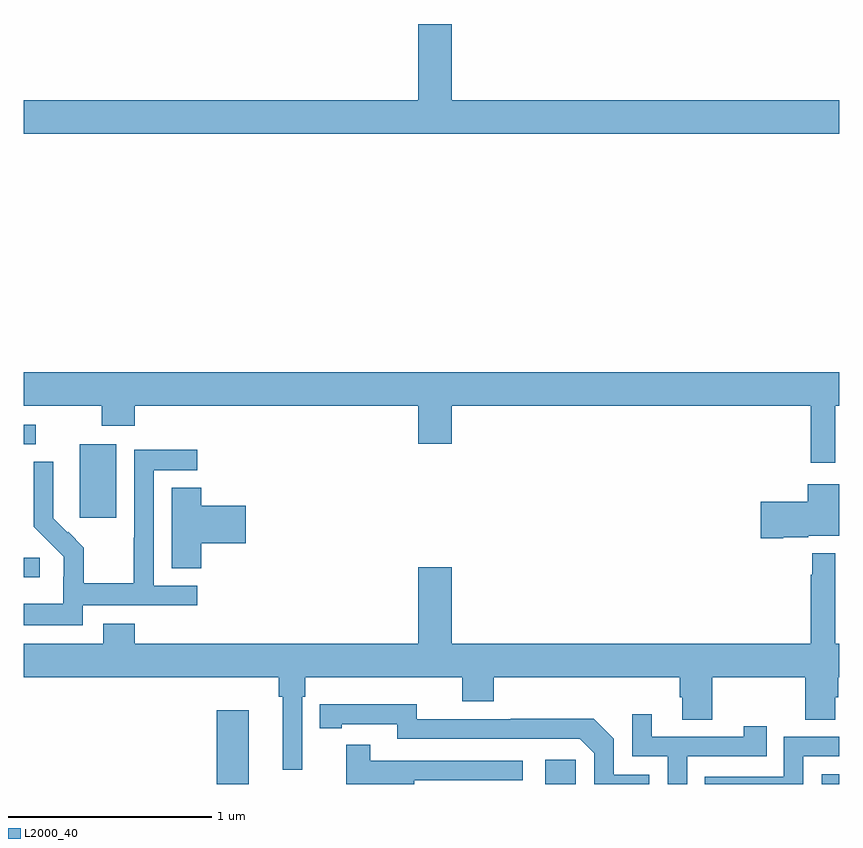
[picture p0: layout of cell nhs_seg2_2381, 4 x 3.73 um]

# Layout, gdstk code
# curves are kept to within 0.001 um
import gdstk
lib = gdstk.Library(unit=1e-6, precision=1e-09)
def R(c, l, rs):  # rectangles x0, y0, x1, y1
    for r in rs: c.add(gdstk.rectangle(r[:2], r[2:], *l))
def P(c, l, *ps):  # polygons
    for p in ps: c.add(gdstk.Polygon(p, *l))
L2000_40 = (2000, 40)

nhs_seg2_2381 = lib.new_cell('nhs_seg2_2381')
R(nhs_seg2_2381, L2000_40, [(235.946,625.8,236.104,626.161), (237.558,625.8,237.708,625.918), (238.914,625.8,239,625.849), (235,626.813,235.078,626.91), (235.274,627.105,235.453,627.466), (235,627.465,235.06,627.561)])
P(nhs_seg2_2381, L2000_40, [(239,629.152),(237.1,629.152),(237.1,629.527),(236.936,629.527),(236.936,629.152),(235,629.152),(235,628.988),(239,628.988)],
  [(238.981,627.656),(239,627.656),(239,627.82),(235,627.82),(235,627.656),(235.384,627.656),(235.384,627.557),(235.544,627.557),(235.544,627.656),(236.936,627.656),(236.936,627.468),(237.1,627.468),(237.1,627.656),(238.86,627.656),(238.86,627.375),(238.981,627.375)],
  [(235.29,626.676),(235.852,626.676),(235.852,626.772),(235.638,626.772),(235.638,627.339),(235.852,627.339),(235.852,627.438),(235.542,627.438),(235.542,627.008),(235.54,627.008),(235.54,626.785),(235.295,626.785),(235.295,626.959),(235.218,627.036),(235.215,627.033),(235.145,627.104),(235.146,627.38),(235.05,627.38),(235.05,627.062),(235.196,626.914),(235.196,626.817),(235.194,626.817),(235.194,626.683),(235,626.683),(235,626.579),(235.29,626.579)],
  [(238.726,627.011),(238.848,627.011),(238.848,627.017),(239,627.017),(239,627.271),(238.844,627.271),(238.844,627.183),(238.614,627.183),(238.614,627.005),(238.726,627.005)],
  [(235.871,626.981),(236.089,626.981),(236.089,627.164),(235.871,627.164),(235.871,627.254),(235.727,627.254),(235.727,626.857),(235.871,626.857)],
  [(236.367,626.228),(236.381,626.228),(236.381,626.324),(237.152,626.324),(237.152,626.207),(237.305,626.207),(237.305,626.324),(238.217,626.324),(238.217,626.226),(238.229,626.226),(238.229,626.116),(238.377,626.116),(238.377,626.324),(238.834,626.324),(238.834,626.116),(238.981,626.116),(238.981,626.226),(238.994,626.226),(238.994,626.324),(239,626.324),(239,626.488),(238.981,626.488),(238.981,626.932),(238.867,626.932),(238.867,626.825),(238.86,626.825),(238.86,626.488),(237.1,626.488),(237.1,626.863),(236.936,626.863),(236.936,626.488),(235.544,626.488),(235.544,626.587),(235.391,626.587),(235.391,626.488),(235,626.488),(235,626.324),(236.251,626.324),(236.251,626.228),(236.27,626.228),(236.27,625.869),(236.367,625.869)],
  [(238.068,625.845),(237.894,625.845),(237.894,626.022),(237.796,626.12),(237.388,626.12),(237.388,626.118),(236.928,626.118),(236.928,626.191),(236.452,626.19),(236.452,626.074),(236.56,626.074),(236.56,626.094),(236.832,626.094),(236.832,626.022),(237.726,626.022),(237.798,625.95),(237.798,625.8),(238.068,625.8)],
  [(238.254,625.935),(238.643,625.935),(238.643,626.083),(238.532,626.083),(238.532,626.031),(238.081,626.031),(238.081,626.143),(237.984,626.143),(237.984,625.935),(238.158,625.935),(238.158,625.8),(238.254,625.8)],
  [(238.824,625.935),(239,625.935),(239,626.031),(238.728,626.031),(238.728,625.836),(238.339,625.836),(238.339,625.8),(238.824,625.8)],
  [(236.915,625.818),(237.448,625.818),(237.448,625.914),(236.699,625.914),(236.699,625.993),(236.582,625.993),(236.582,625.8),(236.915,625.8)])

lib.write_gds('nhs_seg2_2381.gds')
